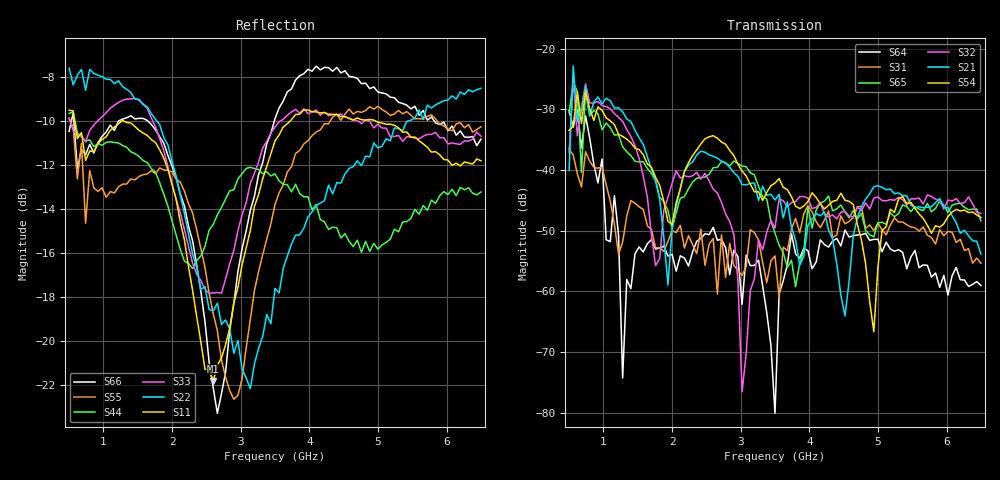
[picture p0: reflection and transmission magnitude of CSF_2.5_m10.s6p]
!Keysight Technologies,M9804A,MY58100912,A.14.10.03
!Date: Thursday, April 27, 2023 10:28:33
!Correction: S11(C  6-Port  )
!S12(C  6-Port  )
!S13(C  6-Port  )
!S14(C  6-Port  )
!S15(C  6-Port  )
!S16(C  6-Port  )
!S21(C  6-Port  )
!S22(C  6-Port  )
!S23(C  6-Port  )
!S24(C  6-Port  )
!S25(C  6-Port  )
!S26(C  6-Port  )
!S31(C  6-Port  )
!S32(C  6-Port  )
!S33(C  6-Port  )
!S34(C  6-Port  )
!S35(C  6-Port  )
!S36(C  6-Port  )
!S41(C  6-Port  )
!S42(C  6-Port  )
!S43(C  6-Port  )
!S44(C  6-Port  )
!S45(C  6-Port  )
!S46(C  6-Port  )
!S51(C  6-Port  )
!S52(C  6-Port  )
!S53(C  6-Port  )
!S54(C  6-Port  )
!S55(C  6-Port  )
!S56(C  6-Port  )
!S61(C  6-Port  )
!S62(C  6-Port  )
!S63(C  6-Port  )
!S64(C  6-Port  )
!S65(C  6-Port  )
!S66(C  6-Port  )
!S6P File: Measurement: :
# Hz S  RI  R 50
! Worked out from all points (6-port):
!   101 points, 500 MHz to 6.5 GHz, reference 50 ohm
!   strongest paths, dB at 500 MHz, 2 GHz, 3.5 GHz, 5 GHz, 6.5 GHz:
!     S54: -33.5, -48.9, -42.2, -56.0, -47.8
!     S21: -40.1, -49.7, -45.0, -42.6, -53.9
!     S32: -37.1, -42.2, -49.6, -44.4, -47.2
!     S65: -30.5, -49.7, -50.4, -48.7, -48.4
!     S31: -36.5, -50.0, -54.2, -48.7, -55.4
!     S64: -30.2, -53.9, -80.1, -51.4, -59.0
!   lowest |S11| = -21.8 dB at 2.6 GHz (marker M1), VSWR 1.18, Z = 42.7 + j1.93 ohm
!   |S11| at or under -10 dB: 581.4 MHz to 1.272 GHz (690.2 MHz wide, 74.5 % of centre); 1.293 GHz to 3.721 GHz (2.428 GHz wide, 96.8 % of centre); 4.964 GHz to end of sweep
